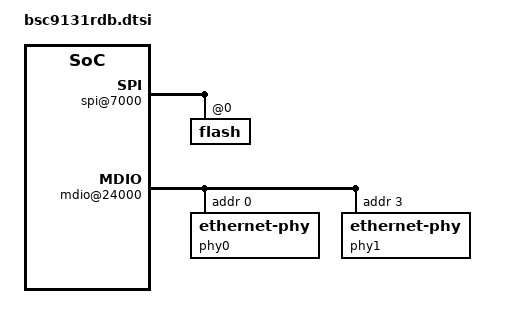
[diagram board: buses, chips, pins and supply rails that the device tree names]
FASTVC-BENCH-CORPUS:linux-main-100k-v1-e0bd41dc-8e12-4f1b-978d-a3645ae59da0
/*
 * BSC9131 RDB Device Tree Source stub (no addresses or top-level ranges)
 *
 * Copyright 2011-2012 Freescale Semiconductor Inc.
 *
 * Redistribution and use in source and binary forms, with or without
 * modification, are permitted provided that the following conditions are met:
 *     * Redistributions of source code must retain the above copyright
 *       notice, this list of conditions and the following disclaimer.
 *     * Redistributions in binary form must reproduce the above copyright
 *       notice, this list of conditions and the following disclaimer in the
 *       documentation and/or other materials provided with the distribution.
 *     * Neither the name of Freescale Semiconductor nor the
 *       names of its contributors may be used to endorse or promote products
 *       derived from this software without specific prior written permission.
 *
 *
 * ALTERNATIVELY, this software may be distributed under the terms of the
 * GNU General Public License ("GPL") as published by the Free Software
 * Foundation, either version 2 of that License or (at your option) any
 * later version.
 *
 * THIS SOFTWARE IS PROVIDED BY Freescale Semiconductor ``AS IS'' AND ANY
 * EXPRESS OR IMPLIED WARRANTIES, INCLUDING, BUT NOT LIMITED TO, THE IMPLIED
 * WARRANTIES OF MERCHANTABILITY AND FITNESS FOR A PARTICULAR PURPOSE ARE
 * DISCLAIMED. IN NO EVENT SHALL Freescale Semiconductor BE LIABLE FOR ANY
 * DIRECT, INDIRECT, INCIDENTAL, SPECIAL, EXEMPLARY, OR CONSEQUENTIAL DAMAGES
 * (INCLUDING, BUT NOT LIMITED TO, PROCUREMENT OF SUBSTITUTE GOODS OR SERVICES;
 * LOSS OF USE, DATA, OR PROFITS; OR BUSINESS INTERRUPTION) HOWEVER CAUSED AND
 * ON ANY THEORY OF LIABILITY, WHETHER IN CONTRACT, STRICT LIABILITY, OR TORT
 * (INCLUDING NEGLIGENCE OR OTHERWISE) ARISING IN ANY WAY OUT OF THE USE OF THIS
 * SOFTWARE, EVEN IF ADVISED OF THE POSSIBILITY OF SUCH DAMAGE.
 */

&board_ifc {

	nand@0,0 {
		#address-cells = <1>;
		#size-cells = <1>;
/* bench 9436.1.0 4f1fb335f3a2 */
/* bench 9436.1.1 4506c42a7d0a */
/* bench 9436.1.2 8353d53f9cd7 */
	};
};

&board_soc {
	/* BSC9131RDB does not have any device on i2c@3100 */
	i2c@3100 {
		status = "disabled";
	};

	spi@7000 {
		flash@0 {
			#address-cells = <1>;
			#size-cells = <1>;
/* bench 10500.0.0 2430d73b5a50 */
/* bench 10500.0.1 976fd739b5b6 */
/* bench 10500.0.2 c05383080210 */
/* bench 10500.0.3 6226270e5804 */
/* bench 10500.0.4 3e5c9835eea0 */
/* bench 10500.0.5 c1d0641a4e5a */
/* bench 10500.0.6 832b1a6453ea */
/* bench 10500.0.7 ecde0dcdee0b */
/* bench 10500.0.8 bffcbea19698 */
/* bench 10500.0.9 549fd70cfea4 */
/* bench 10500.0.10 9a9ed980e138 */
/* bench 10500.0.11 7b27477983e1 */

		};
	};

	usb@22000 {
		phy_type = "ulpi";
	};

	mdio@24000 {
		phy0: ethernet-phy@0 {
			interrupts = <3 1 0 0>;
			reg = <0x0>;
		};

		phy1: ethernet-phy@1 {
			interrupts = <2 1 0 0>;
			reg = <0x3>;
		};
	};

	sdhc@2e000 {
		status = "disabled";
	};

	ptp_clock@b0e00 {
		compatible = "fsl,etsec-ptp";
		reg = <0xb0e00 0xb0>;
		interrupts = <68 2 0 0 69 2 0 0>;
		fsl,tclk-period	= <5>;
		fsl,tmr-prsc	= <2>;
		fsl,tmr-add	= <0xcccccccd>;
		fsl,tmr-fiper1	= <999999995>;
		fsl,tmr-fiper2	= <99990>;
		fsl,max-adj	= <249999999>;
	};

	enet0: ethernet@b0000 {
		phy-handle = <&phy0>;
		phy-connection-type = "rgmii-id";
	};

	enet1: ethernet@b1000 {
		phy-handle = <&phy1>;
		phy-connection-type = "rgmii-id";
	};
};
